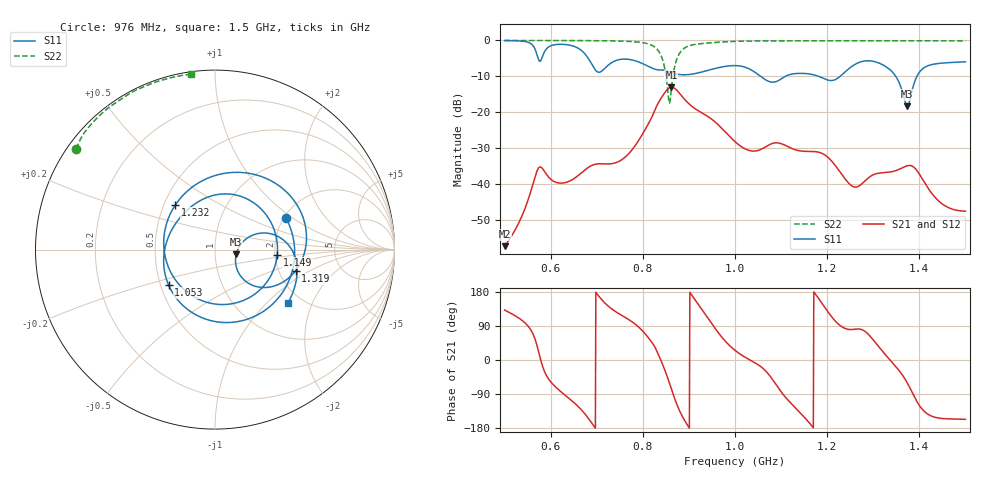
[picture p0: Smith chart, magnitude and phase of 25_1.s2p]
! TOUCHSTONE file generated by CST MICROWAVE STUDIO
! Date and time: Sat Nov 14 20:38:40 2020
! Project name: Scenario_1_Planar_Body_Tissue_Out_of_Line_v2.cst
! Parameters = {dy1=-69.2; L_HA=400; Ltissue=700; MT=2.54; Rad_Dielectric=30; Rad_Lower=7.3; Rad_Upper=30; Wtissue=700; a_HA=580; a_WG=246; b_HA=500; b_WG=121; c_HA=0; c_WG=187; d_feed=85; dx1=173; h_feed=15; h_lower=18; h_upper=40; hfat=3; hgap=25; hmuscle=50; hskin=1.5}
! Header version: 2018
! Port assignment regex: !\s*Touchstone port\s*([0-9]+)\s*=\s*(CST MWS port|CST DS port)\s*([0-9]+|Zmin|Zmax)\s*\(\"(.*)\"\)(\s*mode\s*([0-9]+))?.*
! Touchstone port assignment:
! Touchstone port 1 = CST MWS port 1 ("")
! Touchstone port 2 = CST MWS port 2 ("")
# GHz S DB R 50
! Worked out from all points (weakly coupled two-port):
!   1003 points, 500 MHz to 1.5 GHz, reference 50 ohm
!   highest |S21| = -13.02 dB at 862 MHz (marker M1); lowest = -57.2 dB at 500 MHz (marker M2)
!   lowest |S11| = -18.3 dB at 1.374 GHz (marker M3), VSWR 1.28, Z = 63.3 - j3.4 ohm
!   |S11| at or under -10 dB: 1.055 GHz to 1.109 GHz (53.58 MHz wide, 4.95 % of centre); 1.182 GHz to 1.228 GHz (46.24 MHz wide, 3.84 % of centre); 1.349 GHz to 1.395 GHz (45.77 MHz wide, 3.34 % of centre)
!   |S22| runs from -17.5 to 0.0 dB; largest |S21 - S12| = 3e-05
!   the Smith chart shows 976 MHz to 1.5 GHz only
!   S11 on the Smith chart (normalised r, x): 976 MHz: 2.05, +0.89; 1.053 GHz: 0.55, -0.24; 1.149 GHz: 2.05, -0.14; 1.232 GHz: 0.57, +0.32; 1.319 GHz: 2.47, -0.74; 1.5 GHz: 1.70, -1.35
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0.5  -0.04 -121.7  -57.19 131.9  -57.19 131.9  -0.01 151.2
0.575  -5.67 -162.2  -35.28 15.9  -35.28 15.9  -0.02 146.0
0.627  -1.09 172.9  -39.62 -88.6  -39.62 -88.6  -0.03 142.0
0.667  -2.82 108.5  -36.78 -132.0  -36.78 -132.0  -0.04 138.4
0.693  -7.46 20.1  -34.56 -173.0  -34.56 -173.0  -0.06 135.7
0.717  -7.81 -96.5  -34.32 151.1  -34.32 151.1  -0.09 132.7
0.756  -5.20 165.7  -33.01 116.5  -33.01 116.5  -0.20 126.3
0.792  -6.04 97.7  -27.57 85.7  -27.57 85.7  -0.49 116.4
0.834  -8.20 10.7  -17.26 13.5  -17.26 13.5  -2.93 83.0
0.862  -8.93 -67.0  -13.02 -76.6  -13.02 -76.6  -13.33 -108.8
0.909  -9.32 167.5  -18.56 166.2  -18.56 166.2  -1.21 161.3
0.976  -7.27 24.0  -25.06 53.7  -25.06 53.7  -0.41 144.0
1  -7.00 -22.2  -28.13 25.6  -28.13 25.6  -0.26 140.5
1.053  -9.76 -142.8  -30.45 -14.8  -30.45 -14.8  -0.16 134.1
1.106  -10.22 86.5  -28.98 -93.2  -28.98 -93.2  -0.11 129.2
1.149  -9.17 -5.0  -30.81 -149.2  -30.81 -149.2  -0.10 125.5
1.167  -9.44 -39.8  -30.86 -174.3  -30.86 -174.3  -0.11 124.1
1.232  -9.55 131.5  -37.27 87.6  -37.27 87.6  -0.08 119.3
1.319  -6.67 -14.8  -36.80 24.5  -36.80 24.5  -0.09 112.7
1.334  -7.89 -28.8  -36.64 3.6  -36.64 3.6  -0.08 111.5
1.374  -18.34 -12.6  -34.82 -60.8  -34.82 -60.8  -0.09 108.4
1.5  -5.95 -35.9  -47.46 -156.6  -47.46 -156.6  -0.12 97.9
